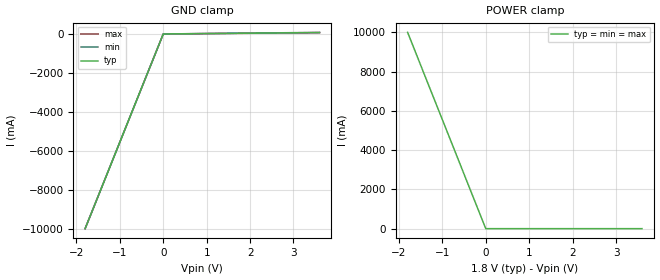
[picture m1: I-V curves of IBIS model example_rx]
[IBIS Ver]   5.1
[File Name]  example_rx.ibs
[File Rev]   v0.1
[Date]   2017-05-20
[Source]   ibisami, a public domain IBIS-AMI model creation infrastructure
[Disclaimer]
THIS MODEL IS PROVIDED BY THE COPYRIGHT HOLDERS AND CONTRIBUTORS "AS IS"
AND ANY EXPRESS OR IMPLIED WARRANTIES, INCLUDING, BUT NOT LIMITED TO, THE
IMPLIED WARRANTIES OF MERCHANTABILITY AND FITNESS FOR A PARTICULAR PURPOSE ARE
DISCLAIMED. IN NO EVENT SHALL THE COPYRIGHT HOLDER OR CONTRIBUTORS BE LIABLE
FOR ANY DIRECT, INDIRECT, INCIDENTAL, SPECIAL, EXEMPLARY, OR CONSEQUENTIAL
DAMAGES (INCLUDING, BUT NOT LIMITED TO, PROCUREMENT OF SUBSTITUTE GOODS OR
SERVICES; LOSS OF USE, DATA, OR PROFITS; OR BUSINESS INTERRUPTION) HOWEVER
CAUSED AND ON ANY THEORY OF LIABILITY, WHETHER IN CONTRACT, STRICT LIABILITY,
OR TORT (INCLUDING NEGLIGENCE OR OTHERWISE) ARISING IN ANY WAY OUT OF THE USE
OF THIS MODEL, EVEN IF ADVISED OF THE POSSIBILITY OF SUCH DAMAGE.
[Notes]
This IBIS file was generated, using the template file,
"example_tx.ibs.em", from ibisami, a public domain IBIS-AMI model
creation infrastructure. To learn more, visit:
https://github.com/capn-freako/ibisami/wiki
[Copyright]   Copyright (c) 2016 David Banas; all rights reserved World wide.
[Component]   Example_Rx
[Manufacturer] (n/a)
[Package]
R_pkg   0.10   0.00   0.50
L_pkg   10.00n   0.10n   50.00n
C_pkg   1.00p   0.01p   5.00p
[Pin]  signal_name   model_name   R_pin  L_pin  C_pin
1p   Tx_1_P   example_rx
1n   Tx_1_N   example_rx
2p   Tx_2_P   example_rx
2n   Tx_2_N   example_rx
3p   Tx_3_P   example_rx
3n   Tx_3_N   example_rx
[Diff_Pin] inv_pin vdiff tdelay_typ tdelay_min tdelay_max
1p   1n   0.1V   NA   NA   NA
2p   2n   0.1V   NA   NA   NA
3p   3n   0.1V   NA   NA   NA
| Models and submodels in the file (1): example_rx (Input)
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[Model]   example_rx
Model_type   Input
C_comp   1.00p   0.01p   5.00p
Vinl = 0.875
Vinh = 0.925
[Algorithmic Model]
Executable linux_gcc4.1.2_32   example_rx_x86.so   example_rx.ami
Executable linux_gcc4.1.2_64   example_rx_x86_amd64.so   example_rx.ami
Executable Windows_VisualStudio_32   example_rx_x86.dll   example_rx.ami
Executable Windows_VisualStudio_64   example_rx_x86_amd64.dll  example_rx.ami
[End Algorithmic Model]
[Temperature_Range]   25.0   0.0   100.0
[Voltage_Range]   1.80   1.62   1.98
[GND Clamp]
-1.8V     -10A       -10A       -10A
0V        0A         0A         0A
1.8V      36mA       40mA       32.73mA
3.6V      72mA       80mA       65.45mA
[Power Clamp]
-1.8V     10A        10A        10A
0V        0A         0A         0A
3.6V      0A         0A         0A
